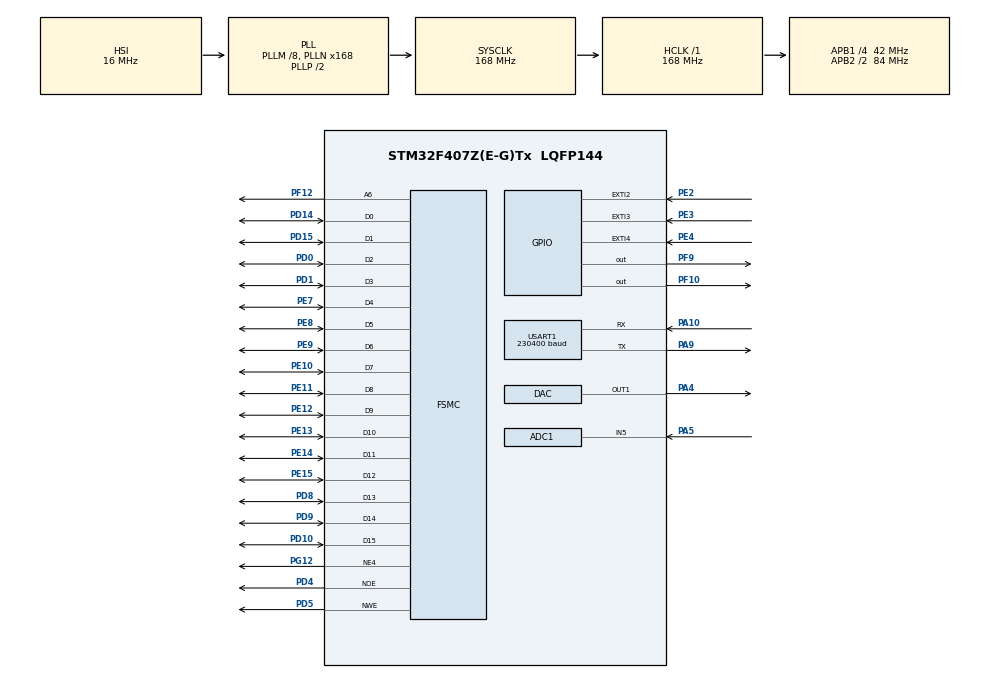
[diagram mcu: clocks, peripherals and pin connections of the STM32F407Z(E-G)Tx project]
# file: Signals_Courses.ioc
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ADC1.Channel-2\#ChannelRegularConversion=ADC_CHANNEL_5
ADC1.ExternalTrigConv=ADC_EXTERNALTRIGCONV_T3_TRGO
ADC1.NbrOfConversionFlag=1
ADC1.Rank-2\#ChannelRegularConversion=1
ADC1.SamplingTime-2\#ChannelRegularConversion=ADC_SAMPLETIME_28CYCLES
ADC1.master=1
DAC.DAC_OutputBuffer=DAC_OUTPUTBUFFER_DISABLE
DAC.DAC_Trigger=DAC_TRIGGER_T7_TRGO
Dma.ADC1.1.Direction=DMA_PERIPH_TO_MEMORY
Dma.ADC1.1.FIFOMode=DMA_FIFOMODE_DISABLE
Dma.ADC1.1.Instance=DMA2_Stream0
Dma.ADC1.1.MemDataAlignment=DMA_MDATAALIGN_HALFWORD
Dma.ADC1.1.MemInc=DMA_MINC_ENABLE
Dma.ADC1.1.Mode=DMA_NORMAL
Dma.ADC1.1.PeriphDataAlignment=DMA_PDATAALIGN_HALFWORD
Dma.ADC1.1.PeriphInc=DMA_PINC_DISABLE
Dma.ADC1.1.Priority=DMA_PRIORITY_LOW
Dma.DAC1.0.Direction=DMA_MEMORY_TO_PERIPH
Dma.DAC1.0.FIFOMode=DMA_FIFOMODE_DISABLE
Dma.DAC1.0.Instance=DMA1_Stream5
Dma.DAC1.0.MemDataAlignment=DMA_MDATAALIGN_HALFWORD
Dma.DAC1.0.MemInc=DMA_MINC_ENABLE
Dma.DAC1.0.Mode=DMA_CIRCULAR
Dma.DAC1.0.PeriphDataAlignment=DMA_PDATAALIGN_HALFWORD
Dma.DAC1.0.PeriphInc=DMA_PINC_DISABLE
Dma.DAC1.0.Priority=DMA_PRIORITY_LOW
Dma.Request0=DAC1
Dma.Request1=ADC1
Mcu.Family=STM32F4
Mcu.Name=STM32F407Z(E-G)Tx
Mcu.Package=LQFP144
NVIC.DMA1_Stream5_IRQn=true\:1\:0\:true\:false\:true\:false\:true\:true
NVIC.DMA2_Stream0_IRQn=true\:1\:0\:true\:false\:true\:false\:true\:true
NVIC.EXTI2_IRQn=true\:0\:0\:false\:false\:true\:true\:true\:true
NVIC.EXTI4_IRQn=true\:0\:0\:true\:false\:true\:true\:true\:true
NVIC.PriorityGroup=NVIC_PRIORITYGROUP_4
NVIC.TIM6_DAC_IRQn=true\:15\:0\:false\:false\:true\:false\:true\:true
PA10.Mode=Asynchronous
PA10.Signal=USART1_RX
PA13.Mode=Serial_Wire
PA13.Signal=SYS_JTMS-SWDIO
PA14.Mode=Serial_Wire
PA14.Signal=SYS_JTCK-SWCLK
PA4.Signal=COMP_DAC1_group
PA5.Signal=ADCx_IN5
PA9.Mode=Asynchronous
PA9.Signal=USART1_TX
PC14-OSC32_IN.Mode=LSE-External-Oscillator
PC14-OSC32_IN.Signal=RCC_OSC32_IN
PC15-OSC32_OUT.Mode=LSE-External-Oscillator
PC15-OSC32_OUT.Signal=RCC_OSC32_OUT
PD0.Signal=FSMC_D2_DA2
PD1.Signal=FSMC_D3_DA3
PD10.Signal=FSMC_D15_DA15
PD14.Signal=FSMC_D0_DA0
PD15.Signal=FSMC_D1_DA1
PD4.Signal=FSMC_NOE
PD5.Signal=FSMC_NWE
PD8.Signal=FSMC_D13_DA13
PD9.Signal=FSMC_D14_DA14
PE10.Signal=FSMC_D7_DA7
PE11.Signal=FSMC_D8_DA8
PE12.Signal=FSMC_D9_DA9
PE13.Signal=FSMC_D10_DA10
PE14.Signal=FSMC_D11_DA11
PE15.Signal=FSMC_D12_DA12
PE2.GPIO_ModeDefaultEXTI=GPIO_MODE_IT_FALLING
PE2.GPIO_PuPd=GPIO_PULLUP
PE2.Signal=GPXTI2
PE3.GPIO_PuPd=GPIO_PULLUP
PE3.Signal=GPXTI3
PE4.GPIO_ModeDefaultEXTI=GPIO_MODE_IT_FALLING
PE4.GPIO_PuPd=GPIO_PULLUP
PE4.Signal=GPXTI4
PE7.Signal=FSMC_D4_DA4
PE8.Signal=FSMC_D5_DA5
PE9.Signal=FSMC_D6_DA6
PF10.GPIO_PuPd=GPIO_PULLUP
PF10.PinState=GPIO_PIN_SET
PF10.Signal=GPIO_Output
PF12.Signal=FSMC_A6
PF9.GPIO_PuPd=GPIO_PULLUP
PF9.PinState=GPIO_PIN_SET
PF9.Signal=GPIO_Output
PG12.Mode=NorPsramChipSelect4_4
PG12.Signal=FSMC_NE4
PH0-OSC_IN.Mode=HSE-External-Oscillator
PH0-OSC_IN.Signal=RCC_OSC_IN
PH1-OSC_OUT.Mode=HSE-External-Oscillator
PH1-OSC_OUT.Signal=RCC_OSC_OUT
ProjectManager.HeapSize=0x200
ProjectManager.StackSize=0x400
ProjectManager.TargetToolchain=STM32CubeIDE
RCC.48MHZClocksFreq_Value=84000000
RCC.AHBFreq_Value=168000000
RCC.APB1CLKDivider=RCC_HCLK_DIV4
RCC.APB1Freq_Value=42000000
RCC.APB1TimFreq_Value=84000000
RCC.APB2CLKDivider=RCC_HCLK_DIV2
RCC.APB2Freq_Value=84000000
RCC.APB2TimFreq_Value=168000000
RCC.CortexFreq_Value=168000000
RCC.HCLKFreq_Value=168000000
RCC.HSE_VALUE=25000000
RCC.HSI_VALUE=16000000
RCC.PLLM=8
RCC.PLLN=168
RCC.SYSCLKFreq_VALUE=168000000
RCC.SYSCLKSource=RCC_SYSCLKSOURCE_PLLCLK
RCC.VCOOutputFreq_Value=336000000
SH.ADCx_IN5.0=ADC1_IN5,IN5
SH.COMP_DAC1_group.0=DAC_OUT1,DAC_OUT1
SH.FSMC_A6.0=FSMC_A6,A6_4
SH.FSMC_D0_DA0.0=FSMC_D0,16b-d4
SH.FSMC_D10_DA10.0=FSMC_D10,16b-d4
SH.FSMC_D11_DA11.0=FSMC_D11,16b-d4
SH.FSMC_D12_DA12.0=FSMC_D12,16b-d4
SH.FSMC_D13_DA13.0=FSMC_D13,16b-d4
SH.FSMC_D14_DA14.0=FSMC_D14,16b-d4
SH.FSMC_D15_DA15.0=FSMC_D15,16b-d4
SH.FSMC_D1_DA1.0=FSMC_D1,16b-d4
SH.FSMC_D2_DA2.0=FSMC_D2,16b-d4
SH.FSMC_D3_DA3.0=FSMC_D3,16b-d4
SH.FSMC_D4_DA4.0=FSMC_D4,16b-d4
SH.FSMC_D5_DA5.0=FSMC_D5,16b-d4
SH.FSMC_D6_DA6.0=FSMC_D6,16b-d4
SH.FSMC_D7_DA7.0=FSMC_D7,16b-d4
SH.FSMC_D8_DA8.0=FSMC_D8,16b-d4
SH.FSMC_D9_DA9.0=FSMC_D9,16b-d4
SH.FSMC_NOE.0=FSMC_NOE,Lcd4
SH.FSMC_NWE.0=FSMC_NWE,Lcd4
STMicroelectronics.X-CUBE-ALGOBUILD.1.4.0.LibraryCcDSPOoLibraryJjDSPOoLibrary=true
TIM3.Period=9
TIM3.Prescaler=21-1
TIM3.TIM_MasterOutputTrigger=TIM_TRGO_UPDATE
TIM3.TIM_MasterSlaveMode=TIM_MASTERSLAVEMODE_DISABLE
TIM7.Period=4199
TIM7.Prescaler=0
TIM7.TIM_MasterOutputTrigger=TIM_TRGO_UPDATE
USART1.BaudRate=230400
USART1.VirtualMode=VM_ASYNC
VP_STMicroelectronics.X-CUBE-ALGOBUILD_VS_DSPOoLibraryJjLibrary_1.4.0_1.4.0.Mode=DSPOoLibraryJjLibrary
VP_TIM3_VS_ClockSourceINT.Mode=Internal
VP_TIM7_VS_ClockSourceINT.Mode=Enable_Timer
board=custom

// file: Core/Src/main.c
/* USER CODE BEGIN Header */
/**
  ******************************************************************************
  * @file           : main.c
  * @brief          : Main program body
  ******************************************************************************
  * @attention
  *
  * Copyright (c) 2025 STMicroelectronics.
  * All rights reserved.
  *
  * This software is licensed under terms that can be found in the LICENSE file
  * in the root directory of this software component.
  * If no LICENSE file comes with this software, it is provided AS-IS.
  *
  ******************************************************************************
  */
/* USER CODE END Header */
#include "main.h"
#include "adc.h"
#include "dac.h"
#include "dma.h"
#include "tim.h"
#include "usart.h"
#include "gpio.h"
#include "fsmc.h"

/* USER CODE BEGIN Includes */
#include "stdio.h"

#include "atk_md0350/atk_md0350.h"
#include "math.h"

#include "arm_math.h"
#include "arm_const_structs.h"
/* USER CODE END Includes */

/* USER CODE BEGIN PD */
uint32_t freq = 100;  // 全局频率

uint16_t SinBuffer[200];
//#define PI 3.141592653589793f
void signalSin(){
    for(int i = 0; i < 200; i++){
        SinBuffer[i] = (uint16_t)((sin(i*2*PI/200) + 1) * (4096.0/2.0) * (1/3.3));
        //SinBuffer[i] = (sin(i*2*PI/200)*0.5+0.5) * (4095.0/3.3);
        if (SinBuffer[i] > 4095) SinBuffer[i] = 4095;
    }
}

//#define SAMPLING_RATE  400000.0f// sampling_rate
float SAMPLING_RATE = 400000.0f;
#define ADC_BUFFER_SIZE      4096
#define FFT_SIZE             ADC_BUFFER_SIZE
#define MAGNITUDE_THRESHOLD     0.02f
#define PEAK_RATIO_THRESHOLD    1.5f
#define WINDOW_SIZE             10

#define ADC_REF_VOLTAGE      3.3f
#define ADC_RESOLUTION       4095.0f

uint16_t adc_buffer[ADC_BUFFER_SIZE];
float voltage_buffer[ADC_BUFFER_SIZE];
float complex_input[ADC_BUFFER_SIZE * 2];
float fft_output[ADC_BUFFER_SIZE];
float peak_frequencies[ADC_BUFFER_SIZE / 2];
float peak_magnitudes[ADC_BUFFER_SIZE / 2];
uint32_t peak_count = 0;

#define AVG_WINDOW_SIZE 10
static float amplitude_history[AVG_WINDOW_SIZE] = {0};
static int history_index = 0;

uint8_t ADC_Cplt_Flag = 0;// 转换完成标志
/* USER CODE END PD */

/* USER CODE BEGIN PM */
/**
  ******************************************************************************
    *name: Change_TIM3_Freq(float target_sampling_rate)
    *func：改变TIM3参数来改变实际采样率
   ******************************************************************************
  */
float Change_TIM3_Freq(float target_sampling_rate){
    // 遍历PSC和ARR组合，寻找最接近目标采样率的组合
    uint32_t best_psc = 0;
    uint32_t best_arr = 0;
    float min_diff = 1e9;
    float real_sampling_rate = 0.0f;

    for (uint32_t psc = 0; psc <= 65535; psc++) {
        uint32_t arr = (uint32_t)(84000000.0f / target_sampling_rate / (psc + 1)) - 1;
        if (arr > 65535) continue;

        float actual = 84000000.0f / ((psc + 1) * (arr + 1));
        float diff = fabsf(actual - target_sampling_rate);

        if (diff < min_diff) {
            min_diff = diff;
            best_psc = psc;
            best_arr = arr;
            real_sampling_rate = actual;
        }
        if (diff < 1.0f) break;  // 提前�?�?
    }
    TIM3->ARR = best_arr;
    TIM3->PSC = best_psc;
    real_sampling_rate = 84000000.0f / ((best_arr + 1) * (best_psc + 1));
    return real_sampling_rate;
}
/**
  ******************************************************************************
    *name: Process_FFT_and_Spectrum()
    *func：FFT + 频谱分析
   ******************************************************************************
  */
void Process_FFT_and_Spectrum() {

    // 1. 执行FFT-4096
    arm_cfft_f32(&arm_cfft_sR_f32_len4096, complex_input, 0, 1);
    //计算幅度
    arm_cmplx_mag_f32(complex_input, fft_output, FFT_SIZE);

    // 3. 频谱分析：寻找峰
    peak_count = 0;
    for (int i = 1; i < FFT_SIZE / 2 - WINDOW_SIZE; i += WINDOW_SIZE) {
        // 3.1 计算当前窗口的平�??
        float window_avg = 0;
        for (int j = 0; j < WINDOW_SIZE; j++) {
            window_avg += fft_output[i + j];
        }
        window_avg /= WINDOW_SIZE;

        // 3.2 在窗口内寻找
        float max_magnitude = 0;
        int max_index = i;
        for (int j = 0; j < WINDOW_SIZE; j++) {
            if (fft_output[i + j] > max_magnitude && fft_output[i + j] >= MAGNITUDE_THRESHOLD) {
                max_magnitude = fft_output[i + j];
                max_index = i + j;
            }
        }

        // 3.3查是否为有效
        if (max_magnitude > 0) {
            float neighbor_avg = 0;
            int neighbor_count = 0;
            for (int k = -5; k <= 5; k++) {
                if (k != 0 && (max_index + k) >= 0 && (max_index + k) < FFT_SIZE / 2) {
                    neighbor_avg += fft_output[max_index + k];
                    neighbor_count++;
                }
            }
            neighbor_avg /= neighbor_count;

            if (max_magnitude >= neighbor_avg * PEAK_RATIO_THRESHOLD) {
                peak_frequencies[peak_count] = (float)max_index * (SAMPLING_RATE / FFT_SIZE); // 频率=索引*频率分辨
                peak_magnitudes[peak_count] = max_magnitude;
                peak_count++;
            }
        }
    }

    // 4. 确定主频信号（幅度最高的�??
    float main_freq = 0;
    float main_magnitude = 0;
    for (int i = 0; i < peak_count; i++) {
        if (peak_magnitudes[i] > main_magnitude) {
            main_magnitude = peak_magnitudes[i];
            main_freq = peak_frequencies[i];
        }
    }
    //main_freq = ((int)(main_freq + 50)) / 100 * 100;

    // 5. 计算信号幅度-DC分量×2
    float dc_offset = fft_output[0] / FFT_SIZE;  // 直流分量归一
    float signal_amplitude = dc_offset * 2;      // 幅度=直流×2
//    float signal_amplitude = main_magnitude / (FFT_SIZE / 2);  // 归一
    // 更新滑动平均缓冲
    amplitude_history[history_index] = signal_amplitude;
    history_index = (history_index + 1) % AVG_WINDOW_SIZE;

    // 计算滑动平均
    float smoothed_amplitude = 0;
    for (int i = 0; i < AVG_WINDOW_SIZE; i++) {
        smoothed_amplitude += amplitude_history[i];
    }
    smoothed_amplitude /= AVG_WINDOW_SIZE;

    //预计频率(INTO-B)
//    target_sampling_rate = 4.0f * main_freq;
//    // 限制采样率范围在1kHz ~ 400kHz
//    if (target_sampling_rate > 400000.0f) {
//        target_sampling_rate = 400000.0f;
//    } else if (target_sampling_rate < 1000.0f) {
//        target_sampling_rate = 1000.0f;
//    }
//    SAMPLING_RATE = Change_TIM3_Freq(target_sampling_rate);
    // 设置为进入模式B

    // 输出结果（可通过串口或LCD显示
    //printf("Main Frequency: %.2f Hz, Amplitude: %.2f V\n", main_freq, signal_amplitude);
    char freq_str[20];
    snprintf(freq_str, sizeof(freq_str), "ADC_freq: %.2f", main_freq);
    atk_md0350_show_string(60, 240, 160, 60, freq_str, ATK_MD0350_LCD_FONT_16, ATK_MD0350_BLACK);

    char amp_str[20];
    snprintf(amp_str, sizeof(amp_str), "ADC_amplitude: %.2f", smoothed_amplitude*1.0);
    atk_md0350_show_string(260, 240, 160, 60, amp_str, ATK_MD0350_LCD_FONT_16, ATK_MD0350_BLACK);

}

/**
  ******************************************************************************
    *Slavename: Do_FFT_And_Find_Main_Freq_Magnitude()
    * Mastername: Process_FFT_and_Spectrum_NEW()
    *func：带通采样定�??+动�?�调整采样频�??
   ******************************************************************************
  */
//float main_freq = 0, amp = 0;
void Do_FFT_And_Find_Main_Freq_Magnitude(float* main_freq, float* smoothed_amplitude) {
    // 1. 执行FFT-4096
    arm_cfft_f32(&arm_cfft_sR_f32_len4096, complex_input, 0, 1);
    arm_cmplx_mag_f32(complex_input, fft_output, FFT_SIZE);
    // 2. 寻找频谱峰�??
    peak_count = 0;
    for (int i = 1; i < FFT_SIZE / 2 - WINDOW_SIZE; i += WINDOW_SIZE) {
        float window_avg = 0;
        for (int j = 0; j < WINDOW_SIZE; j++) {
            window_avg += fft_output[i + j];
        }
        window_avg /= WINDOW_SIZE;
        float max_magnitude = 0;
        int max_index = i;
        for (int j = 0; j < WINDOW_SIZE; j++) {
            if (fft_output[i + j] > max_magnitude && fft_output[i + j] >= MAGNITUDE_THRESHOLD) {
                max_magnitude = fft_output[i + j];
                max_index = i + j;
            }
        }
        if (max_magnitude > 0) {
            float neighbor_avg = 0;
            int neighbor_count = 0;
            for (int k = -5; k <= 5; k++) {
                if (k != 0 && (max_index + k) >= 0 && (max_index + k) < FFT_SIZE / 2) {
                    neighbor_avg += fft_output[max_index + k];
                    neighbor_count++;
                }
            }
            neighbor_avg /= neighbor_count;

            if (max_magnitude >= neighbor_avg * PEAK_RATIO_THRESHOLD) {
                peak_frequencies[peak_count] = (float)max_index * (SAMPLING_RATE / FFT_SIZE);
                peak_magnitudes[peak_count] = max_magnitude;
                peak_count++;
            }
        }
    }
    // 3. 提取主频
    float local_main_freq = 0;
    float main_magnitude = 0;
    for (int i = 0; i < peak_count; i++) {
        if (peak_magnitudes[i] > main_magnitude) {
            main_magnitude = peak_magnitudes[i];
            local_main_freq = peak_frequencies[i];
        }
    }
    // 4. 计算信号幅度（用 DC 分量 × 2 表示大振幅）
    float dc_offset = fft_output[0] / FFT_SIZE;
    float signal_amplitude = dc_offset * 2;
//    float max_magnitude = fft_output[max_index];  // 对应主频点的幅度
//    float signal_amplitude = max_magnitude / (FFT_SIZE / 2);  // 归一化幅值

    // 5. 滑动平均
    amplitude_history[history_index] = signal_amplitude;
    history_index = (history_index + 1) % AVG_WINDOW_SIZE;
    float avg_amplitude = 0;
    for (int i = 0; i < AVG_WINDOW_SIZE; i++) {
        avg_amplitude += amplitude_history[i];
    }
    avg_amplitude /= AVG_WINDOW_SIZE;
    // 6. 输出
    *main_freq = local_main_freq;
    *smoothed_amplitude = avg_amplitude;
}

void Process_FFT_and_Spectrum_NEW() {
    //SAMPLING_RATE = 400000.0f;
    SAMPLING_RATE = Change_TIM3_Freq(400000.0f);

    float target_sampling_rate = 0;
    float main_freq , amp;
    Do_FFT_And_Find_Main_Freq_Magnitude((float *) &main_freq, &amp);

    //INTO-B
    target_sampling_rate = 4 * main_freq;

//    // 限制采样率范围在1kHz ~ 400kHz
    if (target_sampling_rate > 400000) {
        target_sampling_rate = 400000;
    } else if (target_sampling_rate < 1000) {
        target_sampling_rate = 1000;
    }
    SAMPLING_RATE = Change_TIM3_Freq(target_sampling_rate);

//    Do_FFT_And_Find_Main_Freq_Magnitude((float *) &main_freq, &amp);
    // 设置为进入模式B

    // 输出结果（可通过串口或LCD显示
    //printf("Main Frequency: %.2f Hz, Amplitude: %.2f V\n", main_freq, signal_amplitude);
    char freq_str[20];
    snprintf(freq_str, sizeof(freq_str), "ADC_freq: %.2f", main_freq);
    atk_md0350_show_string(60, 240, 160, 60, freq_str, ATK_MD0350_LCD_FONT_16, ATK_MD0350_BLACK);

    char amp_str[20];
    snprintf(amp_str, sizeof(amp_str), "ADC_amplitude: %.2f", amp*1.0);
    atk_md0350_show_string(260, 240, 160, 60, amp_str, ATK_MD0350_LCD_FONT_16, ATK_MD0350_BLACK);

}
/* USER CODE END PM */

/* USER CODE BEGIN PV */

/**
  ******************************************************************************
    *name:Draw_On_TFT()
    *func：将波形显示在TFT屏幕�??
   ******************************************************************************
  */
#define X_START 0
#define X_END   480
#define Y_START 0
#define Y_END   200

void Draw_On_TFT(float* buffer) {
    int i;
    int screen_width = X_END - X_START;
    int screen_height = Y_END - Y_START;

    if (ADC_BUFFER_SIZE < 2) return;

    float x_step = (float)screen_width / (ADC_BUFFER_SIZE - 1);

    // 清除波形显示区域
    atk_md0350_fill(0, 0, 480, 215, ATK_MD0350_WHITE);

    // 画波形
    for (i = 0; i < ADC_BUFFER_SIZE; i++) {
        float voltage = buffer[i];  // 使用传入的数据
        uint16_t y = Y_END - (uint16_t)((voltage / 3.3f) * screen_height);
        uint16_t x = X_START + (uint16_t)(i * x_step);

        atk_md0350_draw_point(x, y, ATK_MD0350_BLACK);
    }
}

/* USER CODE END PV */

void SystemClock_Config(void);

int main(void)
{

  /* MCU Configuration--------------------------------------------------------*/

  /* Reset of all peripherals, Initializes the Flash interface and the Systick. */
  HAL_Init();

  /* Configure the system clock */
  SystemClock_Config();

  /* Initialize all configured peripherals */
  MX_GPIO_Init();
  MX_DMA_Init();
  MX_FSMC_Init();
  MX_DAC_Init();
  MX_TIM7_Init();
  MX_ADC1_Init();
  MX_TIM3_Init();
  MX_USART1_UART_Init();
  /* USER CODE BEGIN 2 */
    int analysis_step = 0;  // 0=初步分析, 1=正式采样
    float estimated_freq = 1000.0f;  // 默认值防止第一次出现采样率过低
    HAL_Delay(100);
    atk_md0350_init();

    signalSin();
    HAL_DAC_Start_DMA(&hdac, DAC_CHANNEL_1, (uint32_t *)SinBuffer, 200, DAC_ALIGN_12B_R);

    HAL_ADC_Start_DMA(&hadc1,(uint32_t *)adc_buffer,ADC_BUFFER_SIZE);

    //LED_Test
    //    HAL_GPIO_WritePin(GPIOF,GPIO_PIN_9,GPIO_PIN_RESET);
    //    HAL_GPIO_WritePin(GPIOF,GPIO_PIN_10,GPIO_PIN_RESET);

    atk_md0350_show_string(20, 280, 240, 80, "Made by Shirley He", ATK_MD0350_LCD_FONT_24, ATK_MD0350_BLACK);
    atk_md0350_show_string(310, 280, 160, 60, "KEY2:DAC_freq_up", ATK_MD0350_LCD_FONT_16, ATK_MD0350_BLACK);
    atk_md0350_show_string(310, 300, 160, 60, "KEY0:DAC_freq_down", ATK_MD0350_LCD_FONT_16, ATK_MD0350_BLACK);
    atk_md0350_draw_line(0, 220, 480, 220, ATK_MD0350_BLACK);

//    atk_md0350_show_string(360, 300, 120, 120, "freq:100.00", ATK_MD0350_LCD_FONT_16, ATK_MD0350_BLACK);

  /* USER CODE END 2 */

  /* Infinite loop */
  while (1)
  {

    /* USER CODE BEGIN 3 */
    if(ADC_Cplt_Flag == 1){
        ADC_Cplt_Flag = 0;

        // 1.ADC原始值转电压
        for (int i = 0; i < ADC_BUFFER_SIZE; i++) {
            voltage_buffer[i] = (adc_buffer[i] / 4095.0f) * 3.3f;
        }

        // 2.复数数组
        for (int i = 0; i < ADC_BUFFER_SIZE; i++) {
            complex_input[2 * i] = voltage_buffer[i];
            complex_input[2 * i + 1] = 0.0f;
        }

        float main_freq, amp;
        if (analysis_step == 0) {
            // 第一步：用默认400k分析频率
            SAMPLING_RATE = Change_TIM3_Freq(400000.0f);
            Do_FFT_And_Find_Main_Freq_Magnitude(&main_freq, &amp);

            estimated_freq = main_freq;  // 记录分析得到的频率
            float target_sampling_rate = 4 * estimated_freq;
            if (target_sampling_rate > 400000) target_sampling_rate = 400000;
            if (target_sampling_rate < 1000) target_sampling_rate = 1000;

            SAMPLING_RATE = Change_TIM3_Freq(target_sampling_rate);

            float voltage_buffer_display[ADC_BUFFER_SIZE];
            memcpy(voltage_buffer_display, voltage_buffer, sizeof(voltage_buffer));
            Draw_On_TFT(voltage_buffer_display);

            analysis_step = 1;  // 下一帧再采样一次并分析

        }
        else {
            // 第二步：采样率已设好，分析正式数据
            Do_FFT_And_Find_Main_Freq_Magnitude(&main_freq, &amp);
            //atk_md0350_fill(0, 0, 480, 215, ATK_MD0350_WHITE);
            char freq_str[20];
            snprintf(freq_str, sizeof(freq_str), "ADC_freq: %.3f", main_freq);
            atk_md0350_show_string(60, 240, 160, 60, freq_str, ATK_MD0350_LCD_FONT_16, ATK_MD0350_BLACK);

            char amp_str[20];
            snprintf(amp_str, sizeof(amp_str), "ADC_amplitude: %.2f", amp);
            atk_md0350_show_string(260, 240, 160, 60, amp_str, ATK_MD0350_LCD_FONT_16, ATK_MD0350_BLACK);

            //Draw_On_TFT();  // 显示曲线
            analysis_step = 0;  // 下一轮重新估计频率
        }

        HAL_TIM_Base_Start(&htim3);
        HAL_ADC_Start_DMA(&hadc1, (uint32_t*)adc_buffer, ADC_BUFFER_SIZE);

    }

  }
  /* USER CODE END 3 */
}

void SystemClock_Config(void)
{
  RCC_OscInitTypeDef RCC_OscInitStruct = {0};
  RCC_ClkInitTypeDef RCC_ClkInitStruct = {0};

  /** Configure the main internal regulator output voltage
  */
  __HAL_RCC_PWR_CLK_ENABLE();
  __HAL_PWR_VOLTAGESCALING_CONFIG(PWR_REGULATOR_VOLTAGE_SCALE1);

  /** Initializes the RCC Oscillators according to the specified parameters
  * in the RCC_OscInitTypeDef structure.
  */
  RCC_OscInitStruct.OscillatorType = RCC_OSCILLATORTYPE_HSI;
  RCC_OscInitStruct.HSIState = RCC_HSI_ON;
  RCC_OscInitStruct.HSICalibrationValue = RCC_HSICALIBRATION_DEFAULT;
  RCC_OscInitStruct.PLL.PLLState = RCC_PLL_ON;
  RCC_OscInitStruct.PLL.PLLSource = RCC_PLLSOURCE_HSI;
  RCC_OscInitStruct.PLL.PLLM = 8;
  RCC_OscInitStruct.PLL.PLLN = 168;
  RCC_OscInitStruct.PLL.PLLP = RCC_PLLP_DIV2;
  RCC_OscInitStruct.PLL.PLLQ = 4;
  if (HAL_RCC_OscConfig(&RCC_OscInitStruct) != HAL_OK)
  {
    Error_Handler();
  }

  /** Initializes the CPU, AHB and APB buses clocks
  */
  RCC_ClkInitStruct.ClockType = RCC_CLOCKTYPE_HCLK|RCC_CLOCKTYPE_SYSCLK
                              |RCC_CLOCKTYPE_PCLK1|RCC_CLOCKTYPE_PCLK2;
  RCC_ClkInitStruct.SYSCLKSource = RCC_SYSCLKSOURCE_PLLCLK;
  RCC_ClkInitStruct.AHBCLKDivider = RCC_SYSCLK_DIV1;
  RCC_ClkInitStruct.APB1CLKDivider = RCC_HCLK_DIV4;
  RCC_ClkInitStruct.APB2CLKDivider = RCC_HCLK_DIV2;

  if (HAL_RCC_ClockConfig(&RCC_ClkInitStruct, FLASH_LATENCY_5) != HAL_OK)
  {
    Error_Handler();
  }
}

/* USER CODE BEGIN 4 */
#define MIN_FREQ 100     // 低频100Hz
#define MAX_FREQ 10000   // 高频10kHz
#define FREQ_STEP 100    // 步进100Hz

void HAL_GPIO_EXTI_Callback(uint16_t GPIO_Pin)
{

    static uint32_t last_tick = 0;    // 上次响应的时间戳
    const uint32_t debounce_time = 200; // 防抖时间

    uint32_t current_tick = HAL_GetTick(); // 获取当前系统时间

    // 判断是否超过防抖时间
    if (current_tick - last_tick < debounce_time) {
        return;
    }
    last_tick = current_tick;

    if (GPIO_Pin == GPIO_PIN_2) {
        //atk_md0350_clear(ATK_MD0350_WHITE);

        if (freq + FREQ_STEP <= MAX_FREQ) {
            freq += FREQ_STEP;
        } else {
            freq = MAX_FREQ;
        }
    }
    else if (GPIO_Pin == GPIO_PIN_4) {
        //atk_md0350_clear(ATK_MD0350_WHITE);

        if (freq - FREQ_STEP >= MIN_FREQ) {
            freq -= FREQ_STEP;
        } else {
            freq = MIN_FREQ;
        }
    }

    TIM7->ARR = (uint32_t)(422000.0f / freq + 0.0) - 1 ;//tim7_tim_not_correct
    // 打印 ARR
//    char arr_str[20];
//    snprintf(arr_str, sizeof(arr_str), "ARR: %lu", TIM7->ARR);
//    atk_md0350_show_string(360, 300, 120, 120, arr_str, ATK_MD0350_LCD_FONT_16, ATK_MD0350_BLACK);
    // freq
//    char freq_str[20];
//    snprintf(freq_str, sizeof(freq_str), "freq: %.2f", freq);
//    atk_md0350_show_string(360, 320, 120, 120, freq_str, ATK_MD0350_LCD_FONT_16, ATK_MD0350_BLACK);
}

void HAL_ADC_ConvCpltCallback(ADC_HandleTypeDef* hadc){
    //HAL_GPIO_WritePin(GPIOF,GPIO_PIN_9,GPIO_PIN_RESET);
    atk_md0350_fill(0, 240, 480, 275, ATK_MD0350_WHITE);
    if(hadc->Instance == ADC1){
        HAL_TIM_Base_Stop(&htim3);//stop_tim3_convtick
        HAL_ADC_Stop_DMA(&hadc1);  //stop_DMA

        ADC_Cplt_Flag = 1;

    }
}
/* USER CODE END 4 */

void Error_Handler(void)
{
  __disable_irq();
  while (1)
  {
  }
}
